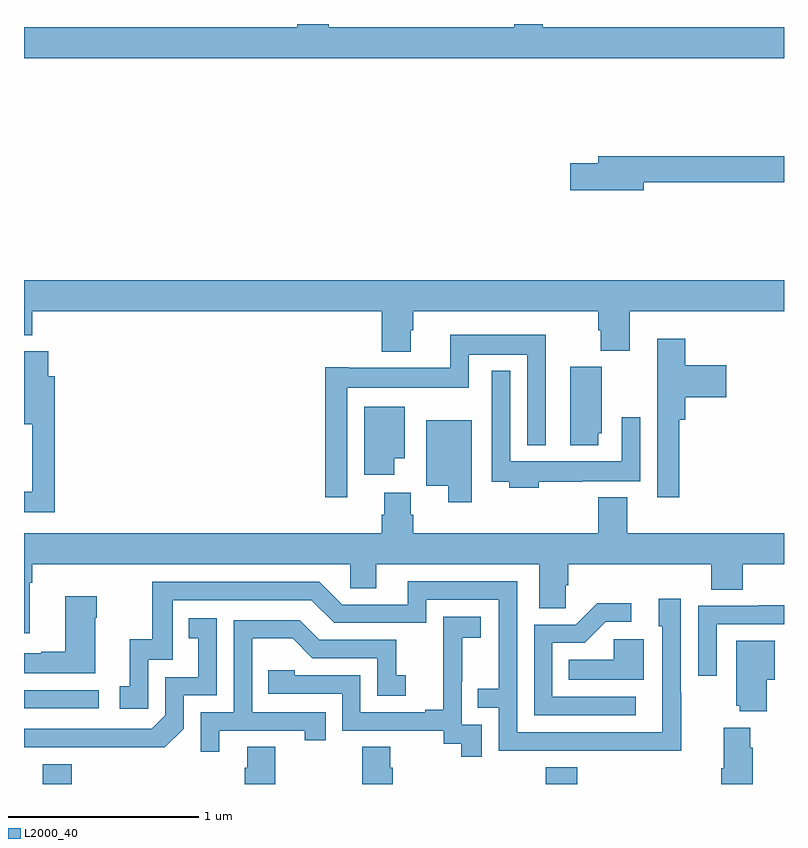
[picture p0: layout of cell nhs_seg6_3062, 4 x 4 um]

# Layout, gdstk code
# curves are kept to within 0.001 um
import gdstk
lib = gdstk.Library(unit=1e-6, precision=1e-09)
def R(c, l, rs):  # rectangles x0, y0, x1, y1
    for r in rs: c.add(gdstk.rectangle(r[:2], r[2:], *l))
def P(c, l, *ps):  # polygons
    for p in ps: c.add(gdstk.Polygon(p, *l))
L2000_40 = (2000, 40)

nhs_seg6_3062 = lib.new_cell('nhs_seg6_3062')
R(nhs_seg6_3062, L2000_40, [(291.098,959.5,291.251,959.605), (293.747,959.5,293.912,959.587), (291,959.898,291.394,959.994)])
P(nhs_seg6_3062, L2000_40, [(295,963.484),(293.731,963.484),(293.731,963.5),(293.579,963.5),(293.579,963.484),(292.604,963.484),(292.604,963.5),(292.439,963.5),(292.439,963.484),(291,963.484),(291,963.32),(295,963.32)],
  [(294.262,962.668),(295,962.668),(295,962.804),(294.023,962.804),(294.023,962.768),(293.874,962.768),(293.874,962.626),(294.262,962.626)],
  [(293.035,961.887),(293.048,961.887),(293.048,961.988),(294.023,961.988),(294.023,961.889),(294.035,961.889),(294.035,961.78),(294.188,961.78),(294.188,961.988),(295,961.988),(295,962.152),(291,962.152),(291,961.862),(291.044,961.862),(291.044,961.988),(292.883,961.988),(292.883,961.775),(293.035,961.775)],
  [(292.701,961.586),(293.34,961.586),(293.34,961.76),(293.649,961.76),(293.649,961.283),(293.746,961.283),(293.746,961.864),(293.243,961.864),(293.243,961.69),(292.708,961.69),(292.708,961.693),(292.585,961.693),(292.585,961.008),(292.701,961.008)],
  [(294.449,961.418),(294.479,961.418),(294.479,961.535),(294.697,961.535),(294.697,961.705),(294.479,961.705),(294.479,961.843),(294.332,961.843),(294.332,961.551),(294.333,961.551),(294.333,961.008),(294.449,961.008)],
  [(291.161,961.647),(291.128,961.647),(291.128,961.777),(291,961.777),(291,961.394),(291.044,961.394),(291.044,961.039),(291,961.039),(291,960.93),(291.161,960.93)],
  [(294.022,961.347),(294.04,961.347),(294.04,961.695),(293.876,961.695),(293.876,961.284),(294.022,961.284)],
  [(293.708,961.092),(293.939,961.092),(293.939,961.094),(294.243,961.094),(294.243,961.429),(294.147,961.429),(294.147,961.198),(293.559,961.198),(293.559,961.675),(293.463,961.675),(293.463,961.092),(293.555,961.092),(293.555,961.058),(293.708,961.058)],
  [(292.948,961.214),(293.005,961.214),(293.005,961.486),(292.79,961.486),(292.79,961.128),(292.948,961.128)],
  [(293.356,961.414),(293.117,961.414),(293.117,961.07),(293.234,961.07),(293.234,960.984),(293.356,960.984)],
  [(291.031,960.56),(291.044,960.56),(291.044,960.656),(292.716,960.656),(292.716,960.529),(292.855,960.529),(292.855,960.656),(293.711,960.656),(293.711,960.424),(293.85,960.424),(293.85,960.547),(293.864,960.547),(293.864,960.656),(294.617,960.656),(294.617,960.523),(294.782,960.523),(294.782,960.656),(295,960.656),(295,960.82),(294.175,960.82),(294.175,961.009),(294.023,961.009),(294.023,960.82),(293.048,960.82),(293.048,960.918),(293.035,960.918),(293.035,961.033),(292.895,961.033),(292.895,960.918),(292.883,960.918),(292.883,960.82),(291,960.82),(291,960.294),(291.031,960.294)],
  [(294.459,959.981),(294.456,959.981),(294.456,960.475),(294.341,960.475),(294.341,960.33),(294.36,960.33),(294.359,959.772),(293.595,959.772),(293.595,960.567),(293.021,960.567),(293.021,960.444),(292.674,960.444),(292.554,960.564),(291.675,960.564),(291.675,960.262),(291.557,960.262),(291.557,960.015),(291.504,960.015),(291.504,959.895),(291.654,959.895),(291.654,960.153),(291.783,960.153),(291.783,960.468),(292.512,960.468),(292.632,960.348),(293.118,960.348),(293.118,960.471),(293.499,960.471),(293.499,960.002),(293.389,960.002),(293.389,959.901),(293.499,959.901),(293.499,959.676),(294.459,959.675)],
  [(291.376,960.374),(291.384,960.374),(291.384,960.487),(291.218,960.487),(291.218,960.197),(291.092,960.197),(291.092,960.187),(291,960.187),(291,960.083),(291.376,960.083)],
  [(294.22,959.958),(293.781,959.958),(293.781,960.243),(293.95,960.243),(294.061,960.354),(294.196,960.354),(294.196,960.452),(294.017,960.452),(293.904,960.339),(293.685,960.339),(293.685,959.862),(294.22,959.862)],
  [(294.645,960.342),(295,960.342),(295,960.44),(294.865,960.44),(294.865,960.438),(294.549,960.438),(294.549,960.069),(294.645,960.069)],
  [(293.409,959.811),(293.304,959.811),(293.304,960.041),(293.306,960.041),(293.306,960.269),(293.404,960.269),(293.404,960.379),(293.206,960.379),(293.206,960.173),(293.207,960.173),(293.207,959.89),(293.111,959.89),(293.111,959.877),(292.77,959.877),(292.77,960.072),(292.425,960.072),(292.425,960.099),(292.285,960.099),(292.285,959.976),(292.674,959.976),(292.674,959.781),(293.208,959.781),(293.208,959.713),(293.301,959.713),(293.301,959.643),(293.409,959.643)],
  [(291.84,959.79),(291.84,959.967),(292.014,959.967),(292.014,960.373),(291.868,960.373),(291.868,960.267),(291.917,960.267),(291.917,960.063),(291.744,960.063),(291.744,959.862),(291.672,959.79),(291,959.79),(291,959.694),(291.742,959.693)],
  [(292.027,959.781),(292.478,959.781),(292.478,959.73),(292.589,959.73),(292.589,959.877),(292.2,959.877),(292.2,960.266),(292.414,960.266),(292.518,960.162),(292.86,960.162),(292.86,959.964),(293.008,959.964),(293.008,960.073),(292.959,960.073),(292.959,960.258),(292.555,960.258),(292.45,960.363),(292.104,960.363),(292.104,959.877),(291.93,959.877),(291.93,959.67),(292.027,959.67)],
  [(294.262,960.262),(294.105,960.262),(294.105,960.154),(293.866,960.154),(293.866,960.05),(294.262,960.05)],
  [(294.91,960.05),(294.952,960.05),(294.952,960.253),(294.749,960.253),(294.749,959.913),(294.767,959.913),(294.767,959.882),(294.91,959.882)],
  [(294.836,959.69),(294.823,959.69),(294.823,959.797),(294.683,959.797),(294.683,959.584),(294.671,959.584),(294.671,959.5),(294.836,959.5)],
  [(292.94,959.586),(292.927,959.586),(292.927,959.696),(292.78,959.696),(292.78,959.5),(292.94,959.5)],
  [(292.323,959.696),(292.175,959.696),(292.175,959.586),(292.163,959.586),(292.163,959.5),(292.323,959.5)])

lib.write_gds('nhs_seg6_3062.gds')
